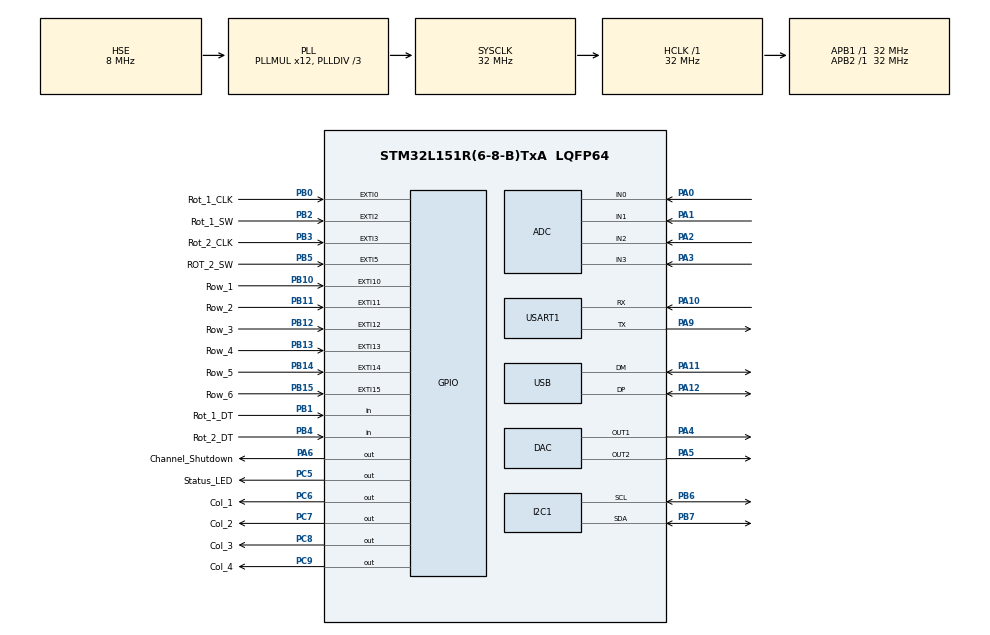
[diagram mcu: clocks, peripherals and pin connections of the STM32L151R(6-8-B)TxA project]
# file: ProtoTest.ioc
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ADC.Channel-0\#ChannelRegularConversion=ADC_CHANNEL_0
ADC.Channel-1\#ChannelRegularConversion=ADC_CHANNEL_1
ADC.Channel-2\#ChannelRegularConversion=ADC_CHANNEL_2
ADC.Channel-3\#ChannelRegularConversion=ADC_CHANNEL_3
ADC.Channel-4\#ChannelRegularConversion=ADC_CHANNEL_VREFINT
ADC.ClockPrescaler=ADC_CLOCK_ASYNC_DIV4
ADC.ContinuousConvMode=ENABLE
ADC.DMAContinuousRequests=ENABLE
ADC.NbrOfConversion=5
ADC.NbrOfConversionFlag=1
ADC.Rank-0\#ChannelRegularConversion=1
ADC.Rank-1\#ChannelRegularConversion=2
ADC.Rank-2\#ChannelRegularConversion=3
ADC.Rank-3\#ChannelRegularConversion=4
ADC.Rank-4\#ChannelRegularConversion=5
ADC.SamplingTime-0\#ChannelRegularConversion=ADC_SAMPLETIME_192CYCLES
ADC.SamplingTime-1\#ChannelRegularConversion=ADC_SAMPLETIME_192CYCLES
ADC.SamplingTime-2\#ChannelRegularConversion=ADC_SAMPLETIME_192CYCLES
ADC.SamplingTime-3\#ChannelRegularConversion=ADC_SAMPLETIME_192CYCLES
ADC.SamplingTime-4\#ChannelRegularConversion=ADC_SAMPLETIME_192CYCLES
ADC.ScanConvMode=ADC_SCAN_ENABLE
Dma.ADC.0.Direction=DMA_PERIPH_TO_MEMORY
Dma.ADC.0.Instance=DMA1_Channel1
Dma.ADC.0.MemDataAlignment=DMA_MDATAALIGN_HALFWORD
Dma.ADC.0.MemInc=DMA_MINC_ENABLE
Dma.ADC.0.Mode=DMA_CIRCULAR
Dma.ADC.0.PeriphDataAlignment=DMA_PDATAALIGN_HALFWORD
Dma.ADC.0.PeriphInc=DMA_PINC_DISABLE
Dma.ADC.0.Priority=DMA_PRIORITY_LOW
Dma.Request0=ADC
I2C1.OwnAddress=0x4E
Mcu.Family=STM32L1
Mcu.Name=STM32L151R(6-8-B)TxA
Mcu.Package=LQFP64
NVIC.DMA1_Channel1_IRQn=true\:0\:0\:false\:false\:true\:false\:true\:true
NVIC.EXTI0_IRQn=true\:0\:0\:false\:false\:true\:true\:true\:true
NVIC.EXTI15_10_IRQn=true\:0\:0\:false\:false\:true\:true\:true\:true
NVIC.PriorityGroup=NVIC_PRIORITYGROUP_4
NVIC.TIM2_IRQn=true\:0\:0\:false\:false\:true\:true\:true\:true
NVIC.TIM3_IRQn=true\:0\:0\:false\:false\:true\:true\:true\:true
NVIC.USB_LP_IRQn=true\:0\:0\:false\:false\:true\:false\:true\:true
PA0-WKUP1.Mode=IN0
PA0-WKUP1.Signal=ADC_IN0
PA1.Mode=IN1
PA1.Signal=ADC_IN1
PA10.Mode=Asynchronous
PA10.Signal=USART1_RX
PA11.Mode=Device
PA11.Signal=USB_DM
PA12.Mode=Device
PA12.Signal=USB_DP
PA13.Mode=Serial_Wire
PA13.Signal=SYS_JTMS-SWDIO
PA14.Mode=Serial_Wire
PA14.Signal=SYS_JTCK-SWCLK
PA2.Mode=IN2
PA2.Signal=ADC_IN2
PA3.Mode=IN3
PA3.Signal=ADC_IN3
PA4.Signal=COMP_DAC1_group
PA5.Signal=COMP_DAC2_group
PA6.GPIO_Label=Channel_Shutdown
PA6.Signal=GPIO_Output
PA9.Mode=Asynchronous
PA9.Signal=USART1_TX
PB0.GPIO_Label=Rot_1_CLK
PB0.GPIO_ModeDefaultEXTI=GPIO_MODE_IT_FALLING
PB0.GPIO_PuPd=GPIO_PULLUP
PB0.Signal=GPXTI0
PB1.GPIO_Label=Rot_1_DT
PB1.Signal=GPIO_Input
PB10.GPIO_Label=Row_1
PB10.GPIO_ModeDefaultEXTI=GPIO_MODE_IT_RISING_FALLING
PB10.GPIO_PuPd=GPIO_PULLUP
PB10.Signal=GPXTI10
PB11.GPIO_Label=Row_2
PB11.GPIO_ModeDefaultEXTI=GPIO_MODE_IT_RISING_FALLING
PB11.GPIO_PuPd=GPIO_PULLUP
PB11.Signal=GPXTI11
PB12.GPIO_Label=Row_3
PB12.GPIO_ModeDefaultEXTI=GPIO_MODE_IT_RISING_FALLING
PB12.GPIO_PuPd=GPIO_PULLUP
PB12.Signal=GPXTI12
PB13.GPIO_Label=Row_4
PB13.GPIO_ModeDefaultEXTI=GPIO_MODE_IT_RISING_FALLING
PB13.GPIO_PuPd=GPIO_PULLUP
PB13.Signal=GPXTI13
PB14.GPIO_Label=Row_5
PB14.GPIO_ModeDefaultEXTI=GPIO_MODE_IT_RISING_FALLING
PB14.GPIO_PuPd=GPIO_PULLUP
PB14.Signal=GPXTI14
PB15.GPIO_Label=Row_6
PB15.GPIO_ModeDefaultEXTI=GPIO_MODE_IT_RISING_FALLING
PB15.GPIO_PuPd=GPIO_PULLUP
PB15.Signal=GPXTI15
PB2.GPIO_Label=Rot_1_SW
PB2.GPIO_ModeDefaultEXTI=GPIO_MODE_IT_FALLING
PB2.GPIO_PuPd=GPIO_PULLUP
PB2.Signal=GPXTI2
PB3.GPIO_Label=Rot_2_CLK
PB3.GPIO_ModeDefaultEXTI=GPIO_MODE_IT_FALLING
PB3.GPIO_PuPd=GPIO_PULLUP
PB3.Signal=GPXTI3
PB4.GPIO_Label=Rot_2_DT
PB4.Signal=GPIO_Input
PB5.GPIO_Label=ROT_2_SW
PB5.GPIO_ModeDefaultEXTI=GPIO_MODE_IT_FALLING
PB5.GPIO_PuPd=GPIO_PULLUP
PB5.Signal=GPXTI5
PB6.GPIO_Pu=GPIO_PULLUP
PB6.Mode=I2C
PB6.Signal=I2C1_SCL
PB7.GPIO_Pu=GPIO_PULLUP
PB7.Mode=I2C
PB7.Signal=I2C1_SDA
PC5.GPIO_Label=Status_LED
PC5.Signal=GPIO_Output
PC6.GPIO_Label=Col_1
PC6.Signal=GPIO_Output
PC7.GPIO_Label=Col_2
PC7.Signal=GPIO_Output
PC8.GPIO_Label=Col_3
PC8.Signal=GPIO_Output
PC9.GPIO_Label=Col_4
PC9.Signal=GPIO_Output
PH0-OSC_IN.Mode=HSE-External-Oscillator
PH0-OSC_IN.Signal=RCC_OSC_IN
PH1-OSC_OUT.Mode=HSE-External-Oscillator
PH1-OSC_OUT.Signal=RCC_OSC_OUT
ProjectManager.HeapSize=0x2000
ProjectManager.StackSize=0x4000
ProjectManager.TargetToolchain=MDK-ARM V5
RCC.48MHZClocksFreq_Value=48000000
RCC.AHBFreq_Value=32000000
RCC.APB1Freq_Value=32000000
RCC.APB1TimFreq_Value=32000000
RCC.APB2Freq_Value=32000000
RCC.APB2TimFreq_Value=32000000
RCC.HCLKFreq_Value=32000000
RCC.HSE_VALUE=8000000
RCC.HSI_VALUE=16000000
RCC.LSE_VALUE=32768
RCC.MSI_VALUE=2097000
RCC.PLLDIV=RCC_PLL_DIV3
RCC.PLLMUL=RCC_PLL_MUL12
RCC.SYSCLKFreq_VALUE=32000000
RCC.SYSCLKSource=RCC_SYSCLKSOURCE_PLLCLK
RCC.VCOOutputFreq_Value=96000000
SH.COMP_DAC1_group.0=DAC_OUT1,DAC_OUT1
SH.COMP_DAC2_group.0=DAC_OUT2,DAC_OUT2
TIM2.Period=10
TIM2.Prescaler=32000
TIM3.Period=250
TIM3.Prescaler=32000
USART1.VirtualMode=VM_ASYNC
USB_DEVICE.CLASS_NAME_FS=CDC
USB_DEVICE.VirtualMode=Cdc
USB_DEVICE.VirtualModeFS=Cdc_FS
VP_ADC_TempSens_Input.Mode=IN-TempSens
VP_ADC_Vref_Input.Mode=IN-Vrefint
VP_TIM2_VS_ClockSourceINT.Mode=Internal
VP_TIM3_VS_ClockSourceINT.Mode=Internal
VP_USB_DEVICE_VS_USB_DEVICE_CDC_FS.Mode=CDC_FS
board=custom

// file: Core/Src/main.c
/* USER CODE BEGIN Header */
/**
  ******************************************************************************
  * @file           : main.c
  * @brief          : Main program body
  ******************************************************************************
  * @attention
  *
  * Copyright (c) 2022 STMicroelectronics.
  * All rights reserved.
  *
  * This software is licensed under terms that can be found in the LICENSE file
  * in the root directory of this software component.
  * If no LICENSE file comes with this software, it is provided AS-IS.
  *
  ******************************************************************************
  */
/* USER CODE END Header */
#include "main.h"
#include "usb_device.h"

/* USER CODE BEGIN Includes */
#include "string.h"
/* USER CODE END Includes */

/* USER CODE BEGIN PD */

/* LCD Section Begin ---------------------------------------------------------*/
#define SLAVE_ADDRESS_LCD 0x4E // change this according to your setup

//Char 0 = Right Arrow
//Char 1 = Vertical Line
const uint8_t customChar[64] = {
	0x08,0x04,0x02,0x1F,0x02,0x04,0x08,0x00, //Custom Char 0
	0x04,0x04,0x04,0x4,0x04,0x04,0x04,0x04,  //Custom Char 1
	0x00,0x00,0x00,0x0,0x00,0x00,0x00,0x00,  //Custom Char 2
	0x00,0x00,0x00,0x0,0x00,0x00,0x00,0x00,  //Custom Char 3
	0x00,0x00,0x00,0x0,0x00,0x00,0x00,0x00,  //Custom Char 4
	0x00,0x00,0x00,0x0,0x00,0x00,0x00,0x00,  //Custom Char 5
	0x00,0x00,0x00,0x0,0x00,0x00,0x00,0x00,  //Custom Char 6
	0x00,0x00,0x00,0x0,0x00,0x00,0x00,0x00   //Custom Char 7
};
/* LCD Section End -----------------------------------------------------------*/

float P = 0.1;
float I = 0.1;
float D = 0.1;

/* USER CODE END PD */

 ADC_HandleTypeDef hadc;
DMA_HandleTypeDef hdma_adc;

DAC_HandleTypeDef hdac;

I2C_HandleTypeDef hi2c1;

TIM_HandleTypeDef htim2;
TIM_HandleTypeDef htim3;

UART_HandleTypeDef huart1;

/* USER CODE BEGIN PV */

/* USB Section Begin ---------------------------------------------------------*/
EXTI_HandleTypeDef hexti1;

uint8_t usbbuffer[128];//Usb buffer
/* USB Section End -----------------------------------------------------------*/

/* Keypad Section Begin ------------------------------------------------------*/
int rowpin = -1;
int colpin = -1;
int kpedge = 1; //0== falling edge 1== rising edge

uint8_t keypadlength = 5;
char keypadarr[5] = {'z','z','z','z','z'};//z is null
int keypaditerator = 4;
uint8_t keypaddecimal = 0;
enum keypadenum {WAIT, V1, A1, V2, A2};
enum keypadenum kpenum = WAIT;
/* Keypad Section End --------------------------------------------------------*/

//Channel numbers
float voltnum1 = 0.0;
float ampnum1 = 0.0;
float voltnum2 = 0.0;
float ampnum2 = 0.0;

float correctedvoltnum1;

uint8_t first_shot = 1;

//Array for the adc values and vars to hold them
uint16_t adcvalues[5];
uint16_t adc_current = 0;
uint16_t adc_linear = 0;
uint16_t adc_opamp = 0;
uint16_t adc_switching = 0;
uint16_t adc_vref = 0;
uint16_t* vrefptr = ((uint16_t*)VREFINT_CAL_ADDR_CMSIS);

//Globals for adc values
uint16_t v1;
float lin_num;
float cur_num;
float op_num;
float swi_num;

// The value for the Intgral part of the PID controller
float error = 0;
float derivative = 0;
float integral = 0;
float error_previous = 0;
float correction = 0;

/* USER CODE END PV */

void SystemClock_Config(void);
static void MX_GPIO_Init(void);
static void MX_ADC_Init(void);
static void MX_DAC_Init(void);
static void MX_I2C1_Init(void);
static void MX_DMA_Init(void);
static void MX_TIM2_Init(void);
static void MX_USART1_UART_Init(void);
static void MX_TIM3_Init(void);
/* USER CODE BEGIN PFP */

void ourInit(void);//Runs several Inits

/* USB Section Begin ---------------------------------------------------------*/
void USB_EXTIinit(void);
void USB_Interrupt_Callback(void);
void EXTI1_IRQHandler(void);
/* USB Section End -----------------------------------------------------------*/

/* LCD Section Begin ---------------------------------------------------------*/
void lcd_init (void);   // initialize lcd
void lcd_send_cmd (char cmd);  // send command to the lcd
void lcd_send_data (char data);  // send data to the lcd
void lcd_send_string (char *str);  // send string to the lcd
void lcd_put_cur(int row, int col);  // put cursor at the entered position row (0 or 1), col (0-15);
void lcd_clear (void);
void LCD_CursorBlinkOnOff( uint8_t cursor_status, uint8_t blink_status );
void lcd_createChar(void);
void lcd_psu_init(void);
void lcd_update_voltage(uint8_t channel, float num);
void lcd_update_amperage(uint8_t channel, float num);
void lcd_psu_update(void);
/* LCD Section End -----------------------------------------------------------*/

/* Keypad Section Begin ------------------------------------------------------*/
void updatekeypad(char num);
void clearkeypad(void);
float translatekeypad(void);
uint8_t checkkeypad(uint8_t which);
void keypadsm(char num);
/* Keypad Section End --------------------------------------------------------*/

/* USER CODE END PFP */

int main(void)
{

  /* MCU Configuration--------------------------------------------------------*/

  /* Reset of all peripherals, Initializes the Flash interface and the Systick. */
  HAL_Init();

  /* Configure the system clock */
  SystemClock_Config();

  /* Initialize all configured peripherals */
  MX_GPIO_Init();
  MX_USB_DEVICE_Init();
  MX_ADC_Init();
  MX_DAC_Init();
  MX_I2C1_Init();
  MX_DMA_Init();
  MX_TIM2_Init();
  MX_USART1_UART_Init();
  MX_TIM3_Init();
  /* USER CODE BEGIN 2 */
	ourInit();
	//TODO: Actually control the switching regulator
	HAL_DAC_SetValue(&hdac, DAC_CHANNEL_2, DAC_ALIGN_12B_R, 0);

  /* USER CODE END 2 */

  /* Infinite loop */
  while (1)
  {

    /* USER CODE BEGIN 3 */

		//Control channel here
		if(voltnum1 == 0.00){
			HAL_GPIO_WritePin(Channel_Shutdown_GPIO_Port, Channel_Shutdown_Pin, GPIO_PIN_RESET);
			HAL_GPIO_WritePin(Status_LED_GPIO_Port, Status_LED_Pin, GPIO_PIN_RESET);
		}

		uint16_t vrefvalue = (uint16_t)*vrefptr;
		float vddcalc = (float)3.0 * ((float)vrefvalue / (float)adc_vref);
		cur_num = (((float)3.0 * (float)adc_current * (float)vrefvalue)/((float)adc_vref * (float)4095) / (float)20) / (float)0.3;
		//float cur_num = (((float)vddcalc * (float)adc_current * (float)4095) / (float)20) / (float)0.3;
		lin_num = ((float)3.0 * ((float)adc_linear * (float)4.0) * (float)vrefvalue)/((float)adc_vref * (float)4095);
		//float lin_num = ((float)vddcalc * (float)adc_linear * (float)4095) * (float)4;
		swi_num = ((float)3.0 * ((float)adc_switching * (float)5.0) * (float)vrefvalue)/((float)adc_vref * (float)4095);

		if(first_shot){
			v1 = (uint16_t)((( (((float)voltnum1) / (float)5.0) + ((float)0.33 / (float)5.0)) * (float)4095) / (float)vddcalc);
			HAL_DAC_SetValue(&hdac, DAC_CHANNEL_1, DAC_ALIGN_12B_R, v1);
			correctedvoltnum1 = voltnum1;
			integral = 0;
			error = 0;
			derivative = 0;
			first_shot = 0;
		}

/*
		else{ // Bang-Bang Controller
			//Try really hard to get the voltage right
			const float margin = 0.05;
			if(lin_num > voltnum1 + margin){
				v1--;
				HAL_DAC_SetValue(&hdac, DAC_CHANNEL_1, DAC_ALIGN_12B_R, v1);
			}
			else if(lin_num < voltnum1 - margin){
				v1++;
				HAL_DAC_SetValue(&hdac, DAC_CHANNEL_1, DAC_ALIGN_12B_R, v1);
			}
		}
*/

		else {
			error = lin_num - voltnum1;
			integral += error;
			derivative = error - error_previous;
			error_previous = error;
			correction = P * error + I * integral + D * derivative;
			correctedvoltnum1 = voltnum1 - correction;
			if(correctedvoltnum1 > 12.0){
				correctedvoltnum1 = 12.0;
			}
			else if(correctedvoltnum1 < 0.0){
				correctedvoltnum1 = 0.0;
			}
			v1 = (uint16_t)((( (correctedvoltnum1 / (float)5.0) + ((float)0.33 / (float)5.0)) * (float)4095) / (float)vddcalc);
			HAL_DAC_SetValue(&hdac, DAC_CHANNEL_1, DAC_ALIGN_12B_R, v1);
		}

		if(voltnum1 > 0.00){
			HAL_GPIO_WritePin(Channel_Shutdown_GPIO_Port, Channel_Shutdown_Pin, GPIO_PIN_SET);
			HAL_GPIO_WritePin(Status_LED_GPIO_Port, Status_LED_Pin, GPIO_PIN_SET);
		}

		//HAL_Delay(250);
  }
  /* USER CODE END 3 */
}

void SystemClock_Config(void)
{
  RCC_OscInitTypeDef RCC_OscInitStruct = {0};
  RCC_ClkInitTypeDef RCC_ClkInitStruct = {0};

  /** Configure the main internal regulator output voltage
  */
  __HAL_PWR_VOLTAGESCALING_CONFIG(PWR_REGULATOR_VOLTAGE_SCALE1);

  /** Initializes the RCC Oscillators according to the specified parameters
  * in the RCC_OscInitTypeDef structure.
  */
  RCC_OscInitStruct.OscillatorType = RCC_OSCILLATORTYPE_HSI|RCC_OSCILLATORTYPE_HSE;
  RCC_OscInitStruct.HSEState = RCC_HSE_ON;
  RCC_OscInitStruct.HSIState = RCC_HSI_ON;
  RCC_OscInitStruct.HSICalibrationValue = RCC_HSICALIBRATION_DEFAULT;
  RCC_OscInitStruct.PLL.PLLState = RCC_PLL_ON;
  RCC_OscInitStruct.PLL.PLLSource = RCC_PLLSOURCE_HSE;
  RCC_OscInitStruct.PLL.PLLMUL = RCC_PLL_MUL12;
  RCC_OscInitStruct.PLL.PLLDIV = RCC_PLL_DIV3;
  if (HAL_RCC_OscConfig(&RCC_OscInitStruct) != HAL_OK)
  {
    Error_Handler();
  }

  /** Initializes the CPU, AHB and APB buses clocks
  */
  RCC_ClkInitStruct.ClockType = RCC_CLOCKTYPE_HCLK|RCC_CLOCKTYPE_SYSCLK
                              |RCC_CLOCKTYPE_PCLK1|RCC_CLOCKTYPE_PCLK2;
  RCC_ClkInitStruct.SYSCLKSource = RCC_SYSCLKSOURCE_PLLCLK;
  RCC_ClkInitStruct.AHBCLKDivider = RCC_SYSCLK_DIV1;
  RCC_ClkInitStruct.APB1CLKDivider = RCC_HCLK_DIV1;
  RCC_ClkInitStruct.APB2CLKDivider = RCC_HCLK_DIV1;

  if (HAL_RCC_ClockConfig(&RCC_ClkInitStruct, FLASH_LATENCY_1) != HAL_OK)
  {
    Error_Handler();
  }
}

static void MX_ADC_Init(void)
{

  ADC_ChannelConfTypeDef sConfig = {0};

  /** Configure the global features of the ADC (Clock, Resolution, Data Alignment and number of conversion)
  */
  hadc.Instance = ADC1;
  hadc.Init.ClockPrescaler = ADC_CLOCK_ASYNC_DIV4;
  hadc.Init.Resolution = ADC_RESOLUTION_12B;
  hadc.Init.DataAlign = ADC_DATAALIGN_RIGHT;
  hadc.Init.ScanConvMode = ADC_SCAN_ENABLE;
  hadc.Init.EOCSelection = ADC_EOC_SEQ_CONV;
  hadc.Init.LowPowerAutoWait = ADC_AUTOWAIT_DISABLE;
  hadc.Init.LowPowerAutoPowerOff = ADC_AUTOPOWEROFF_DISABLE;
  hadc.Init.ChannelsBank = ADC_CHANNELS_BANK_A;
  hadc.Init.ContinuousConvMode = ENABLE;
  hadc.Init.NbrOfConversion = 5;
  hadc.Init.DiscontinuousConvMode = DISABLE;
  hadc.Init.ExternalTrigConv = ADC_SOFTWARE_START;
  hadc.Init.ExternalTrigConvEdge = ADC_EXTERNALTRIGCONVEDGE_NONE;
  hadc.Init.DMAContinuousRequests = ENABLE;
  if (HAL_ADC_Init(&hadc) != HAL_OK)
  {
    Error_Handler();
  }

  /** Configure for the selected ADC regular channel its corresponding rank in the sequencer and its sample time.
  */
  sConfig.Channel = ADC_CHANNEL_0;
  sConfig.Rank = ADC_REGULAR_RANK_1;
  sConfig.SamplingTime = ADC_SAMPLETIME_192CYCLES;
  if (HAL_ADC_ConfigChannel(&hadc, &sConfig) != HAL_OK)
  {
    Error_Handler();
  }

  /** Configure for the selected ADC regular channel its corresponding rank in the sequencer and its sample time.
  */
  sConfig.Channel = ADC_CHANNEL_1;
  sConfig.Rank = ADC_REGULAR_RANK_2;
  if (HAL_ADC_ConfigChannel(&hadc, &sConfig) != HAL_OK)
  {
    Error_Handler();
  }

  /** Configure for the selected ADC regular channel its corresponding rank in the sequencer and its sample time.
  */
  sConfig.Channel = ADC_CHANNEL_2;
  sConfig.Rank = ADC_REGULAR_RANK_3;
  if (HAL_ADC_ConfigChannel(&hadc, &sConfig) != HAL_OK)
  {
    Error_Handler();
  }

  /** Configure for the selected ADC regular channel its corresponding rank in the sequencer and its sample time.
  */
  sConfig.Channel = ADC_CHANNEL_3;
  sConfig.Rank = ADC_REGULAR_RANK_4;
  if (HAL_ADC_ConfigChannel(&hadc, &sConfig) != HAL_OK)
  {
    Error_Handler();
  }

  /** Configure for the selected ADC regular channel its corresponding rank in the sequencer and its sample time.
  */
  sConfig.Channel = ADC_CHANNEL_VREFINT;
  sConfig.Rank = ADC_REGULAR_RANK_5;
  if (HAL_ADC_ConfigChannel(&hadc, &sConfig) != HAL_OK)
  {
    Error_Handler();
  }

}

static void MX_DAC_Init(void)
{

  DAC_ChannelConfTypeDef sConfig = {0};

  /** DAC Initialization
  */
  hdac.Instance = DAC;
  if (HAL_DAC_Init(&hdac) != HAL_OK)
  {
    Error_Handler();
  }

  /** DAC channel OUT1 config
  */
  sConfig.DAC_Trigger = DAC_TRIGGER_NONE;
  sConfig.DAC_OutputBuffer = DAC_OUTPUTBUFFER_ENABLE;
  if (HAL_DAC_ConfigChannel(&hdac, &sConfig, DAC_CHANNEL_1) != HAL_OK)
  {
    Error_Handler();
  }

  /** DAC channel OUT2 config
  */
  if (HAL_DAC_ConfigChannel(&hdac, &sConfig, DAC_CHANNEL_2) != HAL_OK)
  {
    Error_Handler();
  }

}

static void MX_I2C1_Init(void)
{

  hi2c1.Instance = I2C1;
  hi2c1.Init.ClockSpeed = 100000;
  hi2c1.Init.DutyCycle = I2C_DUTYCYCLE_2;
  hi2c1.Init.OwnAddress1 = 156;
  hi2c1.Init.AddressingMode = I2C_ADDRESSINGMODE_7BIT;
  hi2c1.Init.DualAddressMode = I2C_DUALADDRESS_DISABLE;
  hi2c1.Init.OwnAddress2 = 0;
  hi2c1.Init.GeneralCallMode = I2C_GENERALCALL_DISABLE;
  hi2c1.Init.NoStretchMode = I2C_NOSTRETCH_DISABLE;
  if (HAL_I2C_Init(&hi2c1) != HAL_OK)
  {
    Error_Handler();
  }

}

static void MX_TIM2_Init(void)
{

  TIM_ClockConfigTypeDef sClockSourceConfig = {0};
  TIM_MasterConfigTypeDef sMasterConfig = {0};

  htim2.Instance = TIM2;
  htim2.Init.Prescaler = 32000;
  htim2.Init.CounterMode = TIM_COUNTERMODE_UP;
  htim2.Init.Period = 10;
  htim2.Init.ClockDivision = TIM_CLOCKDIVISION_DIV1;
  htim2.Init.AutoReloadPreload = TIM_AUTORELOAD_PRELOAD_DISABLE;
  if (HAL_TIM_Base_Init(&htim2) != HAL_OK)
  {
    Error_Handler();
  }
  sClockSourceConfig.ClockSource = TIM_CLOCKSOURCE_INTERNAL;
  if (HAL_TIM_ConfigClockSource(&htim2, &sClockSourceConfig) != HAL_OK)
  {
    Error_Handler();
  }
  sMasterConfig.MasterOutputTrigger = TIM_TRGO_RESET;
  sMasterConfig.MasterSlaveMode = TIM_MASTERSLAVEMODE_DISABLE;
  if (HAL_TIMEx_MasterConfigSynchronization(&htim2, &sMasterConfig) != HAL_OK)
  {
    Error_Handler();
  }

}

static void MX_TIM3_Init(void)
{

  TIM_ClockConfigTypeDef sClockSourceConfig = {0};
  TIM_MasterConfigTypeDef sMasterConfig = {0};

  htim3.Instance = TIM3;
  htim3.Init.Prescaler = 32000;
  htim3.Init.CounterMode = TIM_COUNTERMODE_UP;
  htim3.Init.Period = 250;
  htim3.Init.ClockDivision = TIM_CLOCKDIVISION_DIV1;
  htim3.Init.AutoReloadPreload = TIM_AUTORELOAD_PRELOAD_DISABLE;
  if (HAL_TIM_Base_Init(&htim3) != HAL_OK)
  {
    Error_Handler();
  }
  sClockSourceConfig.ClockSource = TIM_CLOCKSOURCE_INTERNAL;
  if (HAL_TIM_ConfigClockSource(&htim3, &sClockSourceConfig) != HAL_OK)
  {
    Error_Handler();
  }
  sMasterConfig.MasterOutputTrigger = TIM_TRGO_RESET;
  sMasterConfig.MasterSlaveMode = TIM_MASTERSLAVEMODE_DISABLE;
  if (HAL_TIMEx_MasterConfigSynchronization(&htim3, &sMasterConfig) != HAL_OK)
  {
    Error_Handler();
  }

}

static void MX_USART1_UART_Init(void)
{

  huart1.Instance = USART1;
  huart1.Init.BaudRate = 115200;
  huart1.Init.WordLength = UART_WORDLENGTH_8B;
  huart1.Init.StopBits = UART_STOPBITS_1;
  huart1.Init.Parity = UART_PARITY_NONE;
  huart1.Init.Mode = UART_MODE_TX_RX;
  huart1.Init.HwFlowCtl = UART_HWCONTROL_NONE;
  huart1.Init.OverSampling = UART_OVERSAMPLING_16;
  if (HAL_UART_Init(&huart1) != HAL_OK)
  {
    Error_Handler();
  }

}

static void MX_DMA_Init(void)
{

  /* DMA controller clock enable */
  __HAL_RCC_DMA1_CLK_ENABLE();

  /* DMA interrupt init */
  /* DMA1_Channel1_IRQn interrupt configuration */
  HAL_NVIC_SetPriority(DMA1_Channel1_IRQn, 0, 0);
  HAL_NVIC_EnableIRQ(DMA1_Channel1_IRQn);

}

static void MX_GPIO_Init(void)
{
  GPIO_InitTypeDef GPIO_InitStruct = {0};

  /* GPIO Ports Clock Enable */
  __HAL_RCC_GPIOH_CLK_ENABLE();
  __HAL_RCC_GPIOA_CLK_ENABLE();
  __HAL_RCC_GPIOC_CLK_ENABLE();
  __HAL_RCC_GPIOB_CLK_ENABLE();

  /*Configure GPIO pin Output Level */
  HAL_GPIO_WritePin(Channel_Shutdown_GPIO_Port, Channel_Shutdown_Pin, GPIO_PIN_RESET);

  /*Configure GPIO pin Output Level */
  HAL_GPIO_WritePin(GPIOC, Status_LED_Pin|Col_1_Pin|Col_2_Pin|Col_3_Pin
                          |Col_4_Pin, GPIO_PIN_RESET);

  /*Configure GPIO pin : Channel_Shutdown_Pin */
  GPIO_InitStruct.Pin = Channel_Shutdown_Pin;
  GPIO_InitStruct.Mode = GPIO_MODE_OUTPUT_PP;
  GPIO_InitStruct.Pull = GPIO_NOPULL;
  GPIO_InitStruct.Speed = GPIO_SPEED_FREQ_LOW;
  HAL_GPIO_Init(Channel_Shutdown_GPIO_Port, &GPIO_InitStruct);

  /*Configure GPIO pins : Status_LED_Pin Col_1_Pin Col_2_Pin Col_3_Pin
                           Col_4_Pin */
  GPIO_InitStruct.Pin = Status_LED_Pin|Col_1_Pin|Col_2_Pin|Col_3_Pin
                          |Col_4_Pin;
  GPIO_InitStruct.Mode = GPIO_MODE_OUTPUT_PP;
  GPIO_InitStruct.Pull = GPIO_NOPULL;
  GPIO_InitStruct.Speed = GPIO_SPEED_FREQ_LOW;
  HAL_GPIO_Init(GPIOC, &GPIO_InitStruct);

  /*Configure GPIO pins : Rot_1_CLK_Pin Rot_1_SW_Pin Rot_2_CLK_Pin ROT_2_SW_Pin */
  GPIO_InitStruct.Pin = Rot_1_CLK_Pin|Rot_1_SW_Pin|Rot_2_CLK_Pin|ROT_2_SW_Pin;
  GPIO_InitStruct.Mode = GPIO_MODE_IT_FALLING;
  GPIO_InitStruct.Pull = GPIO_PULLUP;
  HAL_GPIO_Init(GPIOB, &GPIO_InitStruct);

  /*Configure GPIO pins : Rot_1_DT_Pin Rot_2_DT_Pin */
  GPIO_InitStruct.Pin = Rot_1_DT_Pin|Rot_2_DT_Pin;
  GPIO_InitStruct.Mode = GPIO_MODE_INPUT;
  GPIO_InitStruct.Pull = GPIO_NOPULL;
  HAL_GPIO_Init(GPIOB, &GPIO_InitStruct);

  /*Configure GPIO pins : Row_1_Pin Row_2_Pin Row_3_Pin Row_4_Pin
                           Row_5_Pin Row_6_Pin */
  GPIO_InitStruct.Pin = Row_1_Pin|Row_2_Pin|Row_3_Pin|Row_4_Pin
                          |Row_5_Pin|Row_6_Pin;
  GPIO_InitStruct.Mode = GPIO_MODE_IT_RISING_FALLING;
  GPIO_InitStruct.Pull = GPIO_PULLUP;
  HAL_GPIO_Init(GPIOB, &GPIO_InitStruct);

  /* EXTI interrupt init*/
  HAL_NVIC_SetPriority(EXTI0_IRQn, 0, 0);
  HAL_NVIC_EnableIRQ(EXTI0_IRQn);

  HAL_NVIC_SetPriority(EXTI15_10_IRQn, 0, 0);
  HAL_NVIC_EnableIRQ(EXTI15_10_IRQn);

}

/* USER CODE BEGIN 4 */

void ourInit(void){
	/*
	 * The HAL library is dumb and tries to init the adc before the DMA which does not work
	 * if the ADC is using the DMA. This init code is placed in space reserved for CubeMx so
	 * manually reordering it will be overwritten every time we regenerate code.
	 */
	HAL_ADC_DeInit(&hadc);
	HAL_DMA_DeInit(&hdma_adc);
	MX_DMA_Init();
	MX_ADC_Init();

	//Actually our init now
	HAL_ADC_Start_DMA(&hadc, (uint32_t*)&adcvalues, 5);// start the adc in dma mode
	HAL_DAC_Start(&hdac, DAC_CHANNEL_1);
	HAL_DAC_Start(&hdac, DAC_CHANNEL_2);
	USB_EXTIinit();
	//Ensure keypad columns output 0 by default
	HAL_GPIO_WritePin(Col_1_GPIO_Port, Col_1_Pin|Col_2_Pin|Col_3_Pin|Col_4_Pin, GPIO_PIN_RESET);
	HAL_GPIO_WritePin(Channel_Shutdown_GPIO_Port, Channel_Shutdown_Pin, GPIO_PIN_RESET);

	//LCD Init
	lcd_psu_init();
	//Start display timer
	HAL_TIM_Base_Start_IT(&htim3);
}

/* USB Section Begin ---------------------------------------------------------*/
void USB_EXTIinit(void)
{
  EXTI_ConfigTypeDef ExtiConfig;

  ExtiConfig.Line = EXTI_LINE_1;
  ExtiConfig.Mode = EXTI_MODE_INTERRUPT;
  ExtiConfig.Trigger = EXTI_TRIGGER_RISING;
  HAL_EXTI_SetConfigLine(&hexti1, &ExtiConfig);

	/* The function below appears to be superfluous since we simply call our now
	 * "fake" callback function inside the EXTI IRQHandler that is recognised by
	 * the HAL library without needing this.
	 */
	//HAL_EXTI_RegisterCallback(&hexti1, HAL_EXTI_COMMON_CB_ID, &EXTI1_IRQHandler);

	HAL_NVIC_SetPriority(EXTI1_IRQn, 0, 0);
  HAL_NVIC_EnableIRQ(EXTI1_IRQn);
}

void EXTI1_IRQHandler(void)
{
	__HAL_GPIO_EXTI_CLEAR_IT(EXTI1_IRQn);
	USB_Interrupt_Callback();
}
/* USB Section End -----------------------------------------------------------*/

/* LCD Section Begin ---------------------------------------------------------*/
/*
 * The code for every function here except for lcd_createChar was taken from
 * https://controllerstech.com/lcd-20x4-using-i2c-with-stm32/
 * The remaining function was taken from
 * https://circuitdigest.com/microcontroller-projects/custom-characters-on-lcd-using-pic16f877a
 */
void lcd_send_cmd (char cmd)
{
  char data_u, data_l;
	uint8_t data_t[4];
	data_u = (cmd&0xf0);
	data_l = ((cmd<<4)&0xf0);
	data_t[0] = data_u|0x0C;  //en=1, rs=0
	data_t[1] = data_u|0x08;  //en=0, rs=0
	data_t[2] = data_l|0x0C;  //en=1, rs=0
	data_t[3] = data_l|0x08;  //en=0, rs=0
	HAL_I2C_Master_Transmit (&hi2c1, SLAVE_ADDRESS_LCD,(uint8_t *) data_t, 4, 100);
}

void lcd_send_data (char data)
{
	char data_u, data_l;
	uint8_t data_t[4];
	data_u = (data&0xf0);
	data_l = ((data<<4)&0xf0);
	data_t[0] = data_u|0x0D;  //en=1, rs=0
	data_t[1] = data_u|0x09;  //en=0, rs=0
	data_t[2] = data_l|0x0D;  //en=1, rs=0
	data_t[3] = data_l|0x09;  //en=0, rs=0
	HAL_I2C_Master_Transmit (&hi2c1, SLAVE_ADDRESS_LCD,(uint8_t *) data_t, 4, 100);
}

void LCD_CursorBlinkOnOff( uint8_t cursor_status, uint8_t blink_status){

	if( blink_status == 1 && cursor_status == 1){
		lcd_send_cmd(0x0F);
	}
	else if(blink_status == 0 && cursor_status == 1){
		lcd_send_cmd(0x0E);
	}
	else if(blink_status == 1 && cursor_status == 0){
		lcd_send_cmd(0x0D);
	}
	else {
		lcd_send_cmd(0x0C);
	}
}

void LCD_BlinkOnOff( uint8_t status ){

	if( status == 1 ){
		lcd_send_cmd(0x0D);
	}
	else {
		lcd_send_cmd(0x0C);
	}
}

void lcd_clear (void)
{
	lcd_send_cmd (0x00);
	for (int i=0; i<100; i++)
	{
		lcd_send_data (' ');
	}
}

void lcd_put_cur(int row, int col)
{
    switch (row)
    {
        case 0:
            col += 0x80;
            break;
        case 1:
            col += 0xC0;  //C0
            break;
        case 2:
            col += 0x94;	//0x80|0x14 for row 3 col 2
            break;
        case 3:
            col += 0xD4;
            break;
    }

    lcd_send_cmd (col);
}

void lcd_init (void)
{
uint8_t i=0;
HAL_Delay(100);
for(i=0;i<3;i++)//sending 3 times: select 4-bit mode
{
lcd_send_cmd(0x03);
HAL_Delay(45);
}
lcd_send_cmd (0x02);
HAL_Delay(100);
lcd_send_cmd (0x28);
HAL_Delay(1);
lcd_send_cmd (0x0c);
HAL_Delay(1);
lcd_send_cmd (0x80);
HAL_Delay(1);
lcd_createChar();
lcd_clear();
}
void lcd_send_string (char *str)
{
	while (*str) lcd_send_data (*str++);
}
void lcd_createChar(void)
{
//*** Load custom char into the CGROM***//////
  lcd_send_cmd(0x40);   // Set CGRAM Address
	HAL_Delay(1);
  lcd_send_cmd(0x00);   // .. set CGRAM Address
	HAL_Delay(1);
  for(int i = 0; i <= 63 ; i++){
    lcd_send_data(customChar[i]);
		HAL_Delay(1);
	}
  lcd_send_cmd(0);      // Return to Home
	HAL_Delay(1);
  lcd_send_cmd(2);      // .. return to Home
	HAL_Delay(1);
  //*** Loading custom char complete***//////
}

void lcd_psu_init(void){
	lcd_init();

	lcd_put_cur(0, 0);
  lcd_send_string("V1:0.00V ");
	lcd_send_data((uint8_t)1);//Custom Char 1
	lcd_send_string("V1");
	lcd_send_data((uint8_t)0);//Custom Char 0
	lcd_send_string(":0.00V");

	lcd_put_cur(1, 0);
  lcd_send_string("A1:0.00A ");
	lcd_send_data((uint8_t)1);
	lcd_send_string("A1");
	lcd_send_data((uint8_t)0);
	lcd_send_string(":0.00A");

	lcd_put_cur(2, 0);
	lcd_send_string("V2:0.00V ");
	lcd_send_data((uint8_t)1);
	lcd_send_string("V2");
	lcd_send_data((uint8_t)0);
	lcd_send_string(":0.00V");

	lcd_put_cur(3, 0);
  lcd_send_string("A2:0.00A ");
	lcd_send_data((uint8_t)1);
	lcd_send_string("A2");
	lcd_send_data((uint8_t)0);
	lcd_send_string(":0.00A");
}

void lcd_psu_update(void){
	LCD_CursorBlinkOnOff(0,0);
	switch (kpenum) {
		case WAIT:
		lcd_update_voltage(1,voltnum1);
		lcd_update_amperage(2,ampnum1);
		lcd_update_voltage(2,lin_num);
		lcd_update_amperage(2,cur_num);
		lcd_update_voltage(3,voltnum2);
		lcd_update_amperage(3,ampnum2);
		lcd_update_voltage(4,swi_num);
		break;

		case V1:
		//lcd_update_voltage(1,voltnum1);
		lcd_update_amperage(2,ampnum1);
		lcd_update_voltage(2,lin_num);
		lcd_update_amperage(2,cur_num);
		lcd_update_voltage(3,voltnum2);
		lcd_update_amperage(3,ampnum2);
		lcd_update_voltage(4,swi_num);
		lcd_put_cur(0,3);
		lcd_send_string("      ");
		lcd_put_cur(0,3);
		LCD_CursorBlinkOnOff(1,1);
		//Print the keypad array
		if(keypadarr[0] != 'z'){
			lcd_send_data(keypadarr[0]);
		}
		if(keypadarr[1] != 'z'){
			lcd_send_data(keypadarr[1]);
		}
		if(keypadarr[2] != 'z'){
			lcd_send_data(keypadarr[2]);
		}
		if(keypadarr[3] != 'z'){
			lcd_send_data(keypadarr[3]);
		}
		if(keypadarr[4] != 'z'){
			lcd_send_data(keypadarr[4]);
		}
		break;

		case V2:
		lcd_update_voltage(1,voltnum1);
		lcd_update_amperage(2,ampnum1);
		lcd_update_voltage(2,lin_num);
		lcd_update_amperage(2,cur_num);
		//lcd_update_voltage(3,voltnum2);
		lcd_update_amperage(3,ampnum2);
		lcd_update_voltage(4,swi_num);
		lcd_put_cur(2,3);
		lcd_send_string("      ");
		lcd_put_cur(2,3);
		LCD_CursorBlinkOnOff(1,1);
		//Print the keypad array
		if(keypadarr[0] != 'z'){
			lcd_send_data(keypadarr[0]);
		}
		if(keypadarr[1] != 'z'){
			lcd_send_data(keypadarr[1]);
		}
		if(keypadarr[2] != 'z'){
			lcd_send_data(keypadarr[2]);
		}
		if(keypadarr[3] != 'z'){
			lcd_send_data(keypadarr[3]);
		}
		if(keypadarr[4] != 'z'){
			lcd_send_data(keypadarr[4]);
		}
		break;

		case A1:
		lcd_update_voltage(1,voltnum1);
		//lcd_update_amperage(2,ampnum1);
		lcd_update_voltage(2,lin_num);
		lcd_update_amperage(2,cur_num);
		lcd_update_voltage(3,voltnum2);
		lcd_update_amperage(3,ampnum2);
		lcd_update_voltage(4,swi_num);
		lcd_put_cur(1,3);
		lcd_send_string("      ");
		lcd_put_cur(1,3);
		LCD_CursorBlinkOnOff(1,1);
		//Print the keypad array
		if(keypadarr[0] != 'z'){
			lcd_send_data(keypadarr[0]);
		}
		if(keypadarr[1] != 'z'){
			lcd_send_data(keypadarr[1]);
		}
		if(keypadarr[2] != 'z'){
			lcd_send_data(keypadarr[2]);
		}
		if(keypadarr[3] != 'z'){
			lcd_send_data(keypadarr[3]);
		}
		if(keypadarr[4] != 'z'){
			lcd_send_data(keypadarr[4]);
		}
		break;

		case A2:
		lcd_update_voltage(1,voltnum1);
		lcd_update_amperage(2,ampnum1);
		lcd_update_voltage(2,lin_num);
		lcd_update_amperage(2,cur_num);
		lcd_update_voltage(3,voltnum2);
		//lcd_update_amperage(3,ampnum2);
		lcd_update_voltage(4,swi_num);
		lcd_put_cur(4,3);
		lcd_send_string("      ");
		lcd_put_cur(4,3);
		LCD_CursorBlinkOnOff(1,1);
		//Print the keypad array
		if(keypadarr[0] != 'z'){
			lcd_send_data(keypadarr[0]);
		}
		if(keypadarr[1] != 'z'){
			lcd_send_data(keypadarr[1]);
		}
		if(keypadarr[2] != 'z'){
			lcd_send_data(keypadarr[2]);
		}
		if(keypadarr[3] != 'z'){
			lcd_send_data(keypadarr[3]);
		}
		if(keypadarr[4] != 'z'){
			lcd_send_data(keypadarr[4]);
		}
		break;

		default:
		// error
		break;
	}
}
/* LCD Section End -----------------------------------------------------------*/

/* Keypad Section Begin ------------------------------------------------------*/
void lcd_update_voltage(uint8_t channel, float num){
	char kpbuff[8];
	snprintf(kpbuff, 6, "%.2f", num);
	//V1 Set
	if(channel == 1){
		lcd_put_cur(0,3);
		lcd_send_string("      ");//Clear current number
		lcd_put_cur(0,3);
		lcd_send_string(kpbuff);
		lcd_send_string("V");

	}
	//V1 Out
	else if(channel == 2){
		lcd_put_cur(0,14);
		lcd_send_string("      ");//Clear current number
		lcd_put_cur(0,14);
		lcd_send_string(kpbuff);
		lcd_send_string("V");
	}
	//V2 Set
	else if(channel == 3){
		lcd_put_cur(2,3);
		lcd_send_string("      ");//Clear current number
		lcd_put_cur(2,3);
		lcd_send_string(kpbuff);
		lcd_send_string("V");
	}
	//V2 Out
	else if(channel == 4){
		lcd_put_cur(2,14);
		lcd_send_string("      ");//Clear current number
		lcd_put_cur(2,14);
		lcd_send_string(kpbuff);
		lcd_send_string("V");
	}
	else{
		//Error
	}
}
void lcd_update_amperage(uint8_t channel, float num){
	char kpbuff[8];
	snprintf(kpbuff, 5, "%.2f", num);
	//A1 Set
	if(channel == 1){
		lcd_put_cur(1,3);
		lcd_send_string("      ");//Clear current number
		lcd_put_cur(1,3);
		lcd_send_string(kpbuff);
		lcd_send_string("A");

	}
	//A1 Out
	else if(channel == 2){
		lcd_put_cur(1,14);
		lcd_send_string("      ");//Clear current number
		lcd_put_cur(1,14);
		lcd_send_string(kpbuff);
		lcd_send_string("A");
	}
	//A2 Set
	else if(channel == 3){
		lcd_put_cur(3,3);
		lcd_send_string("      ");//Clear current number
		lcd_put_cur(3,3);
		lcd_send_string(kpbuff);
		lcd_send_string("A");
	}
	//A2 Out
	else if(channel == 4){
		lcd_put_cur(3,14);
		lcd_send_string("      ");//Clear current number
		lcd_put_cur(3,14);
		lcd_send_string(kpbuff);
		lcd_send_string("A");
	}
	else{
		//Error
	}
}

/*
 * This function shifts character into and out of a 5 element array from the right.
 * This allows us to think about the number stored in the array as a normal number
 * that is read from left to right.
 * Passing a 'z' to this function will delete the last character.
 * Passing a '.' to this function will shift in a '.' if there is not already one in the array.
 * Passing a number ('1' not 1) to this function will shift in that number but will only
 * allow up to 2 numbers before a decimal and up to 2 numbers after a decimal.
 */
void updatekeypad(char num){
	if(num == 'z'){
		if(keypaditerator < keypadlength-1){
			//Update decimal "bool" if we remove a decimal
			if(keypadarr[4] == '.'){
				keypaddecimal = 0;
			}
			//shift out last entry if array isnt empty
			for(int i = 3; i >= 0; i--){
				keypadarr[i+1] = keypadarr[i];
			}
			keypadarr[0] = num;
			keypaditerator++;
		}
	}
	else if(num == '.'){
		if(keypaditerator >= keypadlength-3 && keypaddecimal == 0){
			//shift in new entry with up to two numbers preceeding it
			for(int i = 1; i < keypadlength; i++){
				keypadarr[i-1] = keypadarr[i];
			}
			keypadarr[keypadlength-1] = num;
			keypaddecimal = 1;
			keypaditerator--;
		}
	}
	else if(num >= '0' && num <= '9'){
		//Allow entries if only up to one number has been entered
		if(keypaditerator > 2){
			//shift in new entry
			for(int i = 1; i < keypadlength; i++){
				keypadarr[i-1] = keypadarr[i];
			}
			keypadarr[keypadlength-1] = num;
			keypaditerator--;
		}
		else if(keypaditerator <= 1 && keypaddecimal == 1 && keypadarr[1] == 'z' && keypadarr[2] != '.'){
			//shift in new entry
			for(int i = 1; i < keypadlength; i++){
				keypadarr[i-1] = keypadarr[i];
			}
			keypadarr[keypadlength-1] = num;
			keypaditerator--;
		}
		//Disallow third decimal place
		else if(keypaditerator <= 1 && keypaddecimal == 1 && keypadarr[1] == 'z'){
			//Do nothing
		}
		//Allow numbers after decimal place
		else if(keypaditerator > 0 && keypaddecimal == 1){
			//shift in new entry
			for(int i = 1; i < keypadlength; i++){
				keypadarr[i-1] = keypadarr[i];
			}
			keypadarr[keypadlength-1] = num;
			keypaditerator--;
		}
		//Allow second decimal place when num > 10
		else if(keypaditerator >= 0 && keypaddecimal == 1 && translatekeypad() >= 10.0){
			//shift in new entry
			for(int i = 1; i < keypadlength; i++){
				keypadarr[i-1] = keypadarr[i];
			}
			keypadarr[keypadlength-1] = num;
			keypaditerator--;
		}
	}
}

void clearkeypad(void){
	while(keypaditerator < 4){
		updatekeypad('z');
	}
}

float translatekeypad(void){
	float num = 0;
	int decimallocation = -1;

	for(int i = 0; i < keypadlength; i++){
		if(keypadarr[i] == '.'){
			decimallocation = i;
		}
	}

	if(decimallocation == -1){
		//No decimal in array
		int count = 1;
		for(int i = keypadlength-1; i >=0; i--){
			if(keypadarr[i] >= '0' && keypadarr[i] <= '9'){
				num += ( (int)keypadarr[i] - (int)'0' ) * (count);
				count = count * 10;
			}
		}
	}
	else{
		//First do numbers to the left of the decimal
		int count = 1;
		for(int i = decimallocation-1; i >=0; i--){
			if(keypadarr[i] >= '0' && keypadarr[i] <= '9'){
				num += ( (int)keypadarr[i] - (int)'0' ) * (count);
				count = count * 10;
			}
		}
		//Next do numbers to the right of the decimal
		count = 10;
		for(int i = decimallocation+1; i < keypadlength; i++){
			if(keypadarr[i] >= '0' && keypadarr[i] <= '9'){
				num += ( (float)(int)keypadarr[i] - (int)'0' ) / (float)(count);
				count = count * 10;
			}
		}
	}

	return num;
}

uint8_t checkkeypad(uint8_t which){
	//which=0 for voltage which=1 for amperage
	float temp = translatekeypad();
	if(which){
		return (temp >= 0 && temp <= 0.5);
	}
	else{
		return (temp >= 0 && temp <= 10.00);
	}
}

void keypadsm(char num){
	//A=V1;B=A1;C=V2;D=A2;
	if(kpenum == WAIT){
		//While in wait we only listen to letters for channel number and type
		if(num == 'A'){
			kpenum = V1;
			clearkeypad();
		}
		else if(num == 'B'){
			kpenum = A1;
			clearkeypad();
		}
		else if(num == 'C'){
			kpenum = V2;
			clearkeypad();
		}
		else if(num == 'D'){
			kpenum = A2;
			clearkeypad();
		}
	}
	else if(kpenum == V1){
		//While in channel listen to numbers/decimal and letters for ENTER
		if(num == 'A'){
			uint8_t test = checkkeypad(0);
			if(test){
				//Only update the value if valid
				voltnum1 = translatekeypad();
			}
			kpenum = WAIT;
			clearkeypad();
			first_shot = 1;
		}
		else if(num == 'B'){
			kpenum = WAIT;
			clearkeypad();
		}
		else if(num == 'C'){
			kpenum = WAIT;
			clearkeypad();
		}
		else if(num == 'D'){
			kpenum = WAIT;
			clearkeypad();
		}
		else if(num == '.'){
			//It "should" be impossible to pass in a bad decimal and we can ignore bad calls
			updatekeypad(num);
		}
		else if(num >= '0' && num <= '9'){
			//It "should" be impossible to overfill the array but we could do additional checks here for valid numbers
			updatekeypad(num);
			//Todo: Display keypad array on LCD
		}
		else if(num == '#'){
			updatekeypad('z');
		}
	}
	else if(kpenum == A1){
		//While in channel listen to numbers/decimal and letters for ENTER
		if(num == 'A'){
			kpenum = WAIT;
			clearkeypad();
		}
		else if(num == 'B'){
			uint8_t test = checkkeypad(1);
			if(test){
				//Only update the value if valid
				ampnum1 = translatekeypad();
			}
			//Todo: Display set number on LCD
			kpenum = WAIT;
			clearkeypad();
		}
		else if(num == 'C'){
			kpenum = WAIT;
			clearkeypad();
		}
		else if(num == 'D'){
			kpenum = WAIT;
			clearkeypad();
		}
		else if(num == '.'){
			//It "should" be impossible to pass in a bad decimal and we can ignore bad calls
			updatekeypad(num);
		}
		else if(num >= '0' && num <= '9'){
			//It "should" be impossible to overfill the array but we could do additional checks here for valid numbers
			updatekeypad(num);
		}
		else if(num == '#'){
			updatekeypad('z');
		}
	}
	else if(kpenum == V2){
		//While in channel listen to numbers/decimal and letters for ENTER
		if(num == 'A'){
			kpenum = WAIT;
			clearkeypad();
			first_shot = 1;
		}
		else if(num == 'B'){
			kpenum = WAIT;
			clearkeypad();
		}
		else if(num == 'C'){
			uint8_t test = checkkeypad(0);
			if(test){
				//Only update the value if valid
				voltnum2 = translatekeypad();
			}
			kpenum = WAIT;
			clearkeypad();
		}
		else if(num == 'D'){
			kpenum = WAIT;
			clearkeypad();
		}
		else if(num == '.'){
			//It "should" be impossible to pass in a bad decimal and we can ignore bad calls
			updatekeypad(num);
		}
		else if(num >= '0' && num <= '9'){
			//It "should" be impossible to overfill the array but we could do additional checks here for valid numbers
			updatekeypad(num);
			//Todo: Display keypad array on LCD
		}
		else if(num == '#'){
			updatekeypad('z');
		}
	}
	else if(kpenum == A2){
		//While in channel listen to numbers/decimal and letters for ENTER
		if(num == 'A'){
			kpenum = WAIT;
			clearkeypad();
		}
		else if(num == 'B'){
			kpenum = WAIT;
			clearkeypad();
		}
		else if(num == 'C'){
			kpenum = WAIT;
			clearkeypad();
		}
		else if(num == 'D'){
			uint8_t test = checkkeypad(1);
			if(test){
				//Only update the value if valid
				ampnum2 = translatekeypad();
			}
			kpenum = WAIT;
			clearkeypad();
		}
		else if(num == '.'){
			//It "should" be impossible to pass in a bad decimal and we can ignore bad calls
			updatekeypad(num);
		}
		else if(num >= '0' && num <= '9'){
			//It "should" be impossible to overfill the array but we could do additional checks here for valid numbers
			updatekeypad(num);
			//Todo: Display keypad array on LCD
		}
		else if(num == '#'){
			updatekeypad('z');
		}
	}
}
/* Keypad Section End --------------------------------------------------------*/

/* Interrupt Callback Section Begin ------------------------------------------*/
static void USB_Interrupt_Callback(void){
	//HAL_GPIO_TogglePin(Status_LED_GPIO_Port, Status_LED_Pin);
}

void HAL_GPIO_EXTI_Callback(uint16_t GPIO_Pin){
		//Row 1
	if(GPIO_Pin == Row_1_Pin){
		//Falling edge
		if(HAL_GPIO_ReadPin(Row_1_GPIO_Port, Row_1_Pin) == 0){
			//Make sure we didn't interrupt on falling edge already
			if(kpedge != 0){
				kpedge = 0;
				//Save rowpin
				rowpin = 1;
				//start debounce
				HAL_TIM_Base_Start_IT(&htim2);
			}

		}
		//Rising edge
		else{
			//Make sure we didn't interrupt on rising edge already
			if(kpedge != 1){
				kpedge = 1;
				//Reset keypad detection vars
				rowpin = -1;
				colpin = -1;
			}
		}
	}
	//Row2
	else if(GPIO_Pin == Row_2_Pin){
		//Falling edge
		if(HAL_GPIO_ReadPin(Row_1_GPIO_Port, Row_2_Pin) == 0){
			//Make sure we didn't interrupt on falling edge already
			if(kpedge != 0){
				kpedge = 0;
				//Save rowpin
				rowpin = 2;
				//start debounce
				HAL_TIM_Base_Start_IT(&htim2);
			}

		}
		//Rising edge
		else{
			//Make sure we didn't interrupt on rising edge already
			if(kpedge != 1){
				kpedge = 1;
				//Reset keypad detection vars
				rowpin = -1;
				colpin = -1;
			}
		}
	}
	//Row3
	else if(GPIO_Pin == Row_3_Pin){
		//Falling edge
		if(HAL_GPIO_ReadPin(Row_1_GPIO_Port, Row_3_Pin) == 0){
			//Make sure we didn't interrupt on falling edge already
			if(kpedge != 0){
				kpedge = 0;
				//Save rowpin
				rowpin = 3;
				//start debounce
				HAL_TIM_Base_Start_IT(&htim2);
			}

		}
		//Rising edge
		else{
			//Make sure we didn't interrupt on rising edge already
			if(kpedge != 1){
				kpedge = 1;
				//Reset keypad detection vars
				rowpin = -1;
				colpin = -1;
			}
		}
	}
	//Row4
	else if(GPIO_Pin == Row_4_Pin){
		//Falling edge
		if(HAL_GPIO_ReadPin(Row_1_GPIO_Port, Row_4_Pin) == 0){
			//Make sure we didn't interrupt on falling edge already
			if(kpedge != 0){
				kpedge = 0;
				//Save rowpin
				rowpin = 4;
				//start debounce
				HAL_TIM_Base_Start_IT(&htim2);
			}

		}
		//Rising edge
		else{
			//Make sure we didn't interrupt on rising edge already
			if(kpedge != 1){
				kpedge = 1;
				//Reset keypad detection vars
				rowpin = -1;
				colpin = -1;
			}
		}
	}
}

void HAL_TIM_PeriodElapsedCallback(TIM_HandleTypeDef *htim)
{
	if(htim == &htim2){
		//Disable timer now that we're in its interrupt
		HAL_TIM_Base_Stop_IT(&htim2);
		/*
		Columns are detected by setting only one column at a time to 0 and then checking if the rowpin
		still reads 0, if the rowpin reads 0 then we know which column is pressed since only one column
		outputs a 0 at a time.
		*/
		HAL_GPIO_WritePin(Col_1_GPIO_Port, Col_1_Pin|Col_2_Pin|Col_3_Pin|Col_4_Pin, GPIO_PIN_SET);
		HAL_GPIO_WritePin(Col_1_GPIO_Port, Col_1_Pin, GPIO_PIN_RESET);
		if(rowpin == 1){
			if(HAL_GPIO_ReadPin(Row_1_GPIO_Port, Row_1_Pin) == 0){
			colpin = 1;
			}
		}
		else if(rowpin == 2){
			if(HAL_GPIO_ReadPin(Row_1_GPIO_Port, Row_2_Pin) == 0){
			colpin = 1;
			}
		}
		else if(rowpin == 3){
			if(HAL_GPIO_ReadPin(Row_1_GPIO_Port, Row_3_Pin) == 0){
			colpin = 1;
			}
		}
		else if(rowpin == 4){
			if(HAL_GPIO_ReadPin(Row_1_GPIO_Port, Row_4_Pin) == 0){
			colpin = 1;
			}
		}
		//Col_2
		HAL_GPIO_WritePin(Col_1_GPIO_Port, Col_1_Pin|Col_2_Pin|Col_3_Pin|Col_4_Pin, GPIO_PIN_SET);
		HAL_GPIO_WritePin(Col_1_GPIO_Port, Col_2_Pin, GPIO_PIN_RESET);
		if(rowpin == 1){
			if(HAL_GPIO_ReadPin(Row_1_GPIO_Port, Row_1_Pin) == 0){
			colpin = 2;
			}
		}
		else if(rowpin == 2){
			if(HAL_GPIO_ReadPin(Row_1_GPIO_Port, Row_2_Pin) == 0){
			colpin = 2;
			}
		}
		else if(rowpin == 3){
			if(HAL_GPIO_ReadPin(Row_1_GPIO_Port, Row_3_Pin) == 0){
			colpin = 2;
			}
		}
		else if(rowpin == 4){
			if(HAL_GPIO_ReadPin(Row_1_GPIO_Port, Row_4_Pin) == 0){
			colpin = 2;
			}
		}
		//Col_3
		HAL_GPIO_WritePin(Col_1_GPIO_Port, Col_1_Pin|Col_2_Pin|Col_3_Pin|Col_4_Pin, GPIO_PIN_SET);
		HAL_GPIO_WritePin(Col_1_GPIO_Port, Col_3_Pin, GPIO_PIN_RESET);
		if(rowpin == 1){
			if(HAL_GPIO_ReadPin(Row_1_GPIO_Port, Row_1_Pin) == 0){
			colpin = 3;
			}
		}
		else if(rowpin == 2){
			if(HAL_GPIO_ReadPin(Row_1_GPIO_Port, Row_2_Pin) == 0){
			colpin = 3;
			}
		}
		else if(rowpin == 3){
			if(HAL_GPIO_ReadPin(Row_1_GPIO_Port, Row_3_Pin) == 0){
			colpin = 3;
			}
		}
		else if(rowpin == 4){
			if(HAL_GPIO_ReadPin(Row_1_GPIO_Port, Row_4_Pin) == 0){
			colpin = 3;
			}
		}
		//Col_4
		HAL_GPIO_WritePin(Col_1_GPIO_Port, Col_1_Pin|Col_2_Pin|Col_3_Pin|Col_4_Pin, GPIO_PIN_SET);
		HAL_GPIO_WritePin(Col_1_GPIO_Port, Col_4_Pin, GPIO_PIN_RESET);
		if(rowpin == 1){
			if(HAL_GPIO_ReadPin(Row_1_GPIO_Port, Row_1_Pin) == 0){
			colpin = 4;
			}
		}
		else if(rowpin == 2){
			if(HAL_GPIO_ReadPin(Row_1_GPIO_Port, Row_2_Pin) == 0){
			colpin = 4;
			}
		}
		else if(rowpin == 3){
			if(HAL_GPIO_ReadPin(Row_1_GPIO_Port, Row_3_Pin) == 0){
			colpin = 4;
			}
		}
		else if(rowpin == 4){
			if(HAL_GPIO_ReadPin(Row_1_GPIO_Port, Row_4_Pin) == 0){
			colpin = 4;
			}
		}
		/*
		Now that rowpin and colpin are known, do something based on button pressed.
		*/
		if(rowpin == 1){
			if(colpin == 1){
				//lcd_send_string("1");
				keypadsm('1');
			}
			else if(colpin == 2){
				//lcd_send_string("2");
				keypadsm('2');
			}
			else if(colpin == 3){
				//lcd_send_string("3");
				keypadsm('3');
			}
			else if(colpin ==4){
				//lcd_send_string("A");
				keypadsm('A');
			}
		}
		else if(rowpin == 2){
			if(colpin == 1){
				//lcd_send_string("4");
				keypadsm('4');
			}
			else if(colpin == 2){
				//lcd_send_string("5");
				keypadsm('5');
			}
			else if(colpin == 3){
				//lcd_send_string("6");
				keypadsm('6');
			}
			else if(colpin == 4){
				//lcd_send_string("B");
				keypadsm('B');
			}
		}
		else if(rowpin == 3){
			if(colpin == 1){
				//lcd_send_string("7");
				keypadsm('7');
			}
			else if(colpin == 2){
				//lcd_send_string("8");
				keypadsm('8');
			}
			else if(colpin == 3){
				//lcd_send_string("9");
				keypadsm('9');
			}
			else if(colpin == 4){
				//lcd_send_string("C");
				keypadsm('C');
			}
		}
		else if(rowpin == 4){
			if(colpin == 1){
				//lcd_send_string("*");
				keypadsm('.');
			}
			else if(colpin == 2){
				//lcd_send_string("0");
				keypadsm('0');
			}
			else if(colpin == 3){
				//lcd_send_string("#");
				keypadsm('#');
			}
			else if(colpin == 4){
				//lcd_send_string("D");
				keypadsm('D');
			}
		}
		else{
			//Error
		}

		//Set all columns back to 0
		HAL_GPIO_WritePin(Col_1_GPIO_Port, Col_1_Pin|Col_2_Pin|Col_3_Pin|Col_4_Pin, GPIO_PIN_RESET);
	}
	else if(htim == &htim3){
		//Disable timer now that we're in its interrupt
		HAL_TIM_Base_Stop_IT(&htim3);
		//Update Display
		lcd_psu_update();
		//Start timer again
		HAL_TIM_Base_Start_IT(&htim3);
	}
}

void HAL_ADC_ConvCpltCallback(ADC_HandleTypeDef* hadc)
{
  adc_current = adcvalues[0];
	adc_linear = adcvalues[1];
	adc_opamp = adcvalues[2];
	adc_switching = adcvalues[3];
	adc_vref = adcvalues[4];
}
/* Interrupt Callback Section End --------------------------------------------*/

/* USER CODE END 4 */

void Error_Handler(void)
{
  __disable_irq();
  while (1)
  {
  }
}
